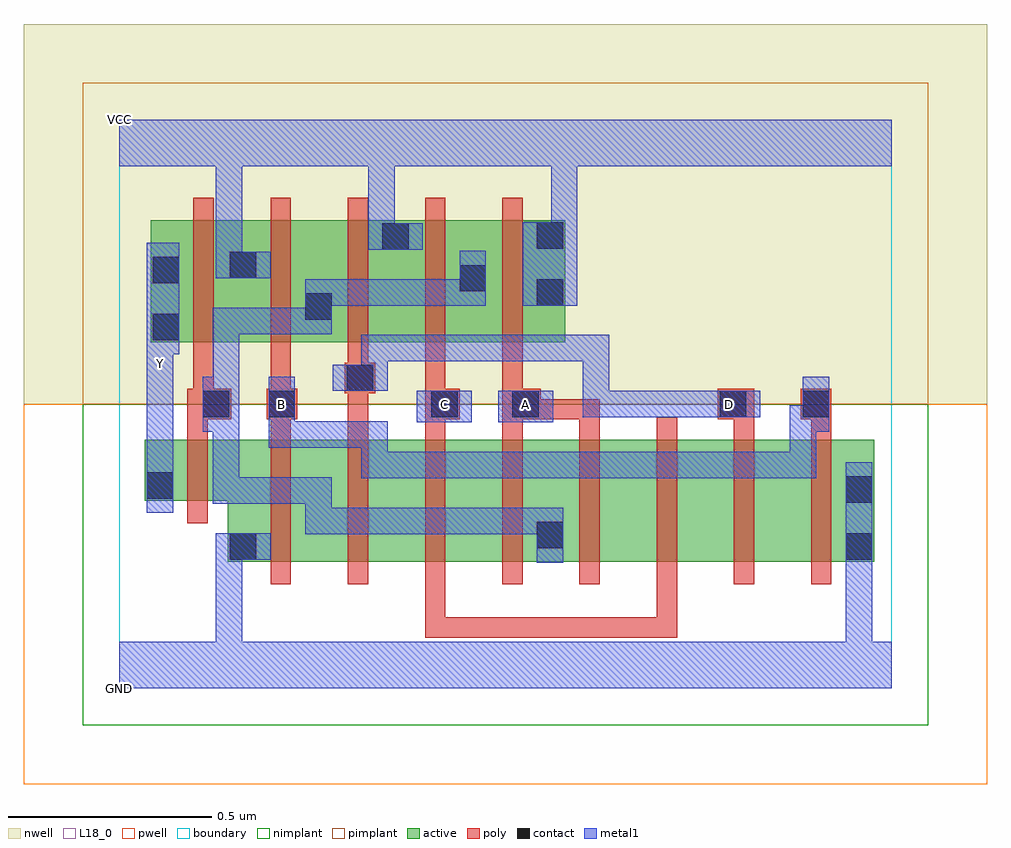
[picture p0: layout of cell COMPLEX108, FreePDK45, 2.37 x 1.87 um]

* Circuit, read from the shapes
.subckt COMPLEX108 A B C D GND VCC Y
M1 GND n1 Y VSUBS nfet w=0.15u l=0.05u
M2 n2 B GND VSUBS nfet w=0.3u l=0.05u
M3 n3 D n2 VSUBS nfet w=0.3u l=0.05u
M4 n4 C n3 VSUBS nfet w=0.3u l=0.05u
M5 n1 A n4 VSUBS nfet w=0.3u l=0.05u
M6 n5 A n1 VSUBS nfet w=0.3u l=0.05u
M7 n6 C n5 VSUBS nfet w=0.3u l=0.05u
M8 n7 D n6 VSUBS nfet w=0.3u l=0.05u
M9 GND B n7 VSUBS nfet w=0.3u l=0.05u
M10 VCC n1 Y n8 pfet w=0.3u l=0.05u
M11 n1 B VCC n8 pfet w=0.3u l=0.05u
M12 VCC D n1 n8 pfet w=0.3u l=0.05u
M13 n1 C VCC n8 pfet w=0.3u l=0.05u
M14 VCC A n1 n8 pfet w=0.3u l=0.05u
.ends

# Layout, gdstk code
import gdstk
lib = gdstk.Library(unit=1e-6, precision=1e-09)
def R(c, l, rs):  # rectangles x0, y0, x1, y1
    for r in rs: c.add(gdstk.rectangle(r[:2], r[2:], *l))
def A(c, l, x, y, w, h, nx, ny, dx, dy):  # array of equal rectangles
    R(c, l, [(x+i*dx, y+j*dy, x+i*dx+w, y+j*dy+h) for i in range(nx) for j in range(ny)])
active = (1, 0)
pwell = (2, 0)
nwell = (3, 0)
nimplant = (4, 0)
pimplant = (5, 0)
poly = (9, 0)
contact = (10, 0)
metal1 = (11, 0)
L18_0 = (18, 0)
boundary = (235, 0)

complex108 = lib.new_cell('COMPLEX108')
A(complex108, active, 0.452, 0.852, 0.265, 0.3, 3, 1, 0.19, 0)
R(complex108, active, [(0.267,0.312,0.342,0.612), (0.267,0.312,0.492,0.612), (0.492,0.312,0.682,0.612), (0.682,0.312,0.872,0.612), (0.872,0.312,1.097,0.612), (1.022,0.312,1.097,0.612), (1.022,0.312,1.252,0.612), (1.252,0.312,1.442,0.612), (1.442,0.312,1.632,0.612), (1.632,0.312,1.857,0.612), (1.782,0.312,1.857,0.612), (0.062,0.462,0.342,0.612), (0.062,0.462,0.137,0.612), (0.077,0.852,0.152,1.152), (0.077,0.852,0.342,1.152), (0.267,0.852,0.527,1.152), (0.267,0.852,0.342,1.08), (0.452,0.852,0.527,1.055), (0.832,0.852,0.907,1.055), (1.022,0.852,1.097,1.152), (0.642,1.007,0.717,1.15)])
R(complex108, pwell, [(-0.235,-0.235,2.135,0.7)])
R(complex108, nwell, [(-0.235,0.7,2.135,1.635)])
R(complex108, nimplant, [(-0.09,-0.09,1.99,0.7)])
R(complex108, pimplant, [(-0.09,0.7,1.99,1.49)])
A(complex108, poly, 0.372, 0.257, 0.05, 0.41, 8, 1, 0.19, 0)
A(complex108, poly, 0.752, 0.617, 0.05, 0.095, 3, 1, 0.19, 0)
A(complex108, poly, 0.182, 0.797, 0.05, 0.41, 5, 1, 0.19, 0)
R(complex108, poly, [(0.752,0.125,0.802,0.307), (0.752,0.125,0.802,0.175), (0.752,0.125,0.802,0.175), (0.752,0.125,0.802,0.175), (0.752,0.125,0.97,0.175), (0.92,0.125,0.97,0.175), (0.92,0.125,0.97,0.175), (0.92,0.125,0.97,0.175), (0.92,0.125,1.17,0.175), (1.12,0.125,1.372,0.175), (1.12,0.125,1.17,0.175), (1.12,0.125,1.17,0.175), (1.12,0.125,1.17,0.175), (1.322,0.125,1.372,0.307), (1.322,0.125,1.372,0.175), (0.167,0.407,0.217,0.667), (0.167,0.617,0.217,0.712), (0.372,0.617,0.422,0.712), (0.562,0.617,0.612,0.777), (1.512,0.617,1.562,0.712), (1.702,0.617,1.752,0.712), (0.167,0.662,0.275,0.737), (0.362,0.662,0.437,0.737), (0.752,0.662,0.837,0.737), (0.942,0.662,1.037,0.737), (0.987,0.662,1.037,0.712), (0.987,0.662,1.037,0.712), (0.987,0.662,1.182,0.712), (1.132,0.662,1.182,0.712), (1.472,0.662,1.562,0.737), (1.677,0.662,1.752,0.737), (0.182,0.687,0.232,0.847), (0.372,0.687,0.422,0.847), (0.752,0.687,0.802,0.847), (0.942,0.687,0.992,0.847), (0.555,0.727,0.63,0.802), (0.562,0.752,0.612,0.847)])
R(complex108, contact, [(0.272,0.317,0.337,0.382), (1.787,0.317,1.852,0.382), (1.027,0.345,1.092,0.41), (1.787,0.457,1.852,0.522), (0.067,0.467,0.132,0.532), (0.205,0.667,0.27,0.732), (0.367,0.667,0.432,0.732), (0.767,0.667,0.832,0.732), (0.967,0.667,1.032,0.732), (1.477,0.667,1.542,0.732), (1.682,0.667,1.747,0.732), (0.56,0.732,0.625,0.797), (0.082,0.857,0.147,0.922), (0.457,0.907,0.522,0.972), (1.027,0.942,1.092,1.007), (0.837,0.977,0.902,1.042), (0.082,0.997,0.147,1.062), (0.272,1.01,0.337,1.075), (0.647,1.08,0.712,1.145), (1.027,1.082,1.092,1.147)])
R(complex108, metal1, [(0,0,1.9,0.115), (0.237,0.05,0.302,0.115), (0.237,0.05,0.302,0.115), (0.237,0.05,0.302,0.382), (1.787,0.05,1.852,0.347), (1.787,0.05,1.852,0.115), (1.787,0.05,1.852,0.115), (1.787,0.05,1.852,0.115), (1.787,0.05,1.852,0.115), (1.787,0.282,1.852,0.557), (1.027,0.31,1.092,0.445), (0.237,0.317,0.302,0.382), (0.237,0.317,0.302,0.382), (0.237,0.317,0.372,0.382), (0.457,0.38,0.66,0.445), (0.457,0.38,0.522,0.52), (0.595,0.38,0.66,0.445), (0.595,0.38,0.66,0.445), (0.595,0.38,0.66,0.445), (0.595,0.38,0.86,0.445), (0.795,0.38,0.86,0.445), (0.795,0.38,0.86,0.445), (0.795,0.38,0.86,0.445), (0.795,0.38,0.997,0.445), (0.932,0.38,0.997,0.445), (0.932,0.38,1.092,0.445), (0.067,0.432,0.132,0.567), (0.23,0.455,0.295,0.52), (0.23,0.455,0.295,0.52), (0.23,0.455,0.295,0.52), (0.23,0.455,0.452,0.52), (0.23,0.455,0.295,0.697), (0.387,0.455,0.452,0.52), (0.387,0.455,0.522,0.52), (0.067,0.502,0.132,0.797), (0.595,0.517,0.797,0.582), (0.595,0.517,0.66,0.657), (0.732,0.517,0.797,0.582), (0.732,0.517,0.797,0.582), (0.732,0.517,0.797,0.582), (0.732,0.517,1.055,0.582), (0.99,0.517,1.055,0.582), (0.99,0.517,1.055,0.582), (0.99,0.517,1.055,0.582), (0.99,0.517,1.205,0.582), (1.14,0.517,1.205,0.582), (1.14,0.517,1.205,0.582), (1.14,0.517,1.205,0.582), (1.14,0.517,1.36,0.582), (1.295,0.517,1.36,0.582), (1.295,0.517,1.577,0.582), (1.512,0.517,1.577,0.582), (1.512,0.517,1.577,0.582), (1.512,0.517,1.577,0.582), (1.512,0.517,1.715,0.582), (1.65,0.517,1.715,0.582), (1.65,0.517,1.715,0.697), (0.367,0.592,0.432,0.657), (0.367,0.592,0.66,0.657), (0.367,0.592,0.432,0.697), (0.595,0.592,0.66,0.657), (0.595,0.592,0.66,0.657), (0.205,0.632,0.27,0.767), (0.205,0.632,0.295,0.697), (0.23,0.632,0.295,0.697), (0.23,0.632,0.295,0.937), (0.367,0.632,0.432,0.697), (0.367,0.632,0.432,0.697), (0.367,0.632,0.432,0.767), (1.65,0.632,1.715,0.697), (1.65,0.632,1.747,0.697), (1.682,0.632,1.747,0.767), (0.732,0.655,0.867,0.732), (0.932,0.655,1.067,0.732), (1.14,0.667,1.205,0.732), (1.14,0.667,1.342,0.732), (1.14,0.667,1.205,0.87), (1.277,0.667,1.342,0.732), (1.277,0.667,1.497,0.732), (1.432,0.667,1.497,0.732), (1.432,0.667,1.497,0.732), (1.432,0.667,1.577,0.732), (0.067,0.732,0.132,0.887), (0.525,0.732,0.66,0.797), (0.595,0.732,0.66,0.797), (0.595,0.732,0.66,0.797), (0.595,0.732,0.66,0.87), (0.595,0.805,0.66,0.87), (0.595,0.805,0.797,0.87), (0.732,0.805,0.797,0.87), (0.732,0.805,0.797,0.87), (0.732,0.805,0.797,0.87), (0.732,0.805,1.005,0.87), (0.94,0.805,1.005,0.87), (0.94,0.805,1.005,0.87), (0.94,0.805,1.005,0.87), (0.94,0.805,1.205,0.87), (1.14,0.805,1.205,0.87), (1.14,0.805,1.205,0.87), (1.14,0.805,1.205,0.87), (0.067,0.822,0.132,0.887), (0.067,0.822,0.147,1.097), (0.23,0.872,0.295,0.937), (0.23,0.872,0.452,0.937), (0.387,0.872,0.452,0.937), (0.387,0.872,0.522,0.937), (0.457,0.872,0.522,1.007), (0.457,0.942,0.522,1.007), (0.457,0.942,0.522,1.007), (0.457,0.942,0.66,1.007), (0.595,0.942,0.66,1.007), (0.595,0.942,0.66,1.007), (0.595,0.942,0.66,1.007), (0.595,0.942,0.797,1.007), (0.732,0.942,0.797,1.007), (0.732,0.942,0.902,1.007), (0.837,0.942,0.902,1.077), (0.992,0.942,1.127,1.147), (0.237,1.01,0.302,1.075), (0.237,1.01,0.302,1.075), (0.237,1.01,0.372,1.075), (0.237,1.01,0.302,1.35), (0.612,1.08,0.677,1.35), (0.612,1.08,0.747,1.145), (1.062,1.082,1.127,1.147), (1.062,1.082,1.127,1.147), (1.062,1.082,1.127,1.35), (0,1.285,1.9,1.4), (0.612,1.285,0.677,1.35), (0.612,1.285,0.677,1.35)])
R(complex108, L18_0, [(0,0,1.9,0.115), (0.237,0.05,0.302,0.115), (0.237,0.05,0.302,0.115), (0.237,0.05,0.302,0.382), (1.787,0.05,1.852,0.115), (1.787,0.05,1.852,0.115), (1.787,0.05,1.852,0.115), (1.787,0.05,1.852,0.115), (1.787,0.05,1.852,0.347), (1.787,0.282,1.852,0.557), (0.237,0.317,0.302,0.382), (0.237,0.317,0.302,0.382), (0.237,0.317,0.372,0.382), (0.067,0.432,0.132,0.567), (0.067,0.502,0.132,0.797), (0.595,0.517,0.66,0.657), (0.595,0.517,0.797,0.582), (0.732,0.517,0.797,0.582), (0.732,0.517,0.797,0.582), (0.732,0.517,0.797,0.582), (0.732,0.517,1.055,0.582), (0.99,0.517,1.055,0.582), (0.99,0.517,1.055,0.582), (0.99,0.517,1.055,0.582), (0.99,0.517,1.205,0.582), (1.14,0.517,1.205,0.582), (1.14,0.517,1.205,0.582), (1.14,0.517,1.205,0.582), (1.14,0.517,1.36,0.582), (1.295,0.517,1.36,0.582), (1.295,0.517,1.577,0.582), (1.512,0.517,1.577,0.582), (1.512,0.517,1.577,0.582), (1.512,0.517,1.577,0.582), (1.512,0.517,1.715,0.582), (1.65,0.517,1.715,0.582), (1.65,0.517,1.715,0.697), (0.367,0.592,0.432,0.657), (0.367,0.592,0.432,0.697), (0.367,0.592,0.66,0.657), (0.595,0.592,0.66,0.657), (0.595,0.592,0.66,0.657), (0.367,0.632,0.432,0.767), (0.367,0.632,0.432,0.697), (0.367,0.632,0.432,0.697), (1.65,0.632,1.715,0.697), (1.65,0.632,1.747,0.697), (1.682,0.632,1.747,0.767), (0.732,0.655,0.867,0.732), (0.932,0.655,1.067,0.732), (0.367,0.667,0.432,0.732), (0.767,0.667,0.832,0.732), (0.967,0.667,1.032,0.732), (1.14,0.667,1.205,0.732), (1.14,0.667,1.342,0.732), (1.14,0.667,1.205,0.87), (1.277,0.667,1.342,0.732), (1.277,0.667,1.497,0.732), (1.432,0.667,1.497,0.732), (1.432,0.667,1.497,0.732), (1.432,0.667,1.577,0.732), (1.467,0.667,1.532,0.732), (0.067,0.732,0.132,0.887), (0.525,0.732,0.66,0.797), (0.595,0.732,0.66,0.797), (0.595,0.732,0.66,0.797), (0.595,0.732,0.66,0.87), (0.067,0.767,0.132,0.832), (0.595,0.805,0.66,0.87), (0.595,0.805,0.797,0.87), (0.732,0.805,0.797,0.87), (0.732,0.805,0.797,0.87), (0.732,0.805,0.797,0.87), (0.732,0.805,1.005,0.87), (0.94,0.805,1.005,0.87), (0.94,0.805,1.005,0.87), (0.94,0.805,1.005,0.87), (0.94,0.805,1.205,0.87), (1.14,0.805,1.205,0.87), (1.14,0.805,1.205,0.87), (1.14,0.805,1.205,0.87), (0.067,0.822,0.147,1.097), (0.067,0.822,0.132,0.887), (0.992,0.942,1.127,1.147), (0.237,1.01,0.302,1.075), (0.237,1.01,0.302,1.075), (0.237,1.01,0.372,1.075), (0.237,1.01,0.302,1.35), (0.612,1.08,0.747,1.145), (0.612,1.08,0.677,1.35), (1.062,1.082,1.127,1.147), (1.062,1.082,1.127,1.147), (1.062,1.082,1.127,1.35), (0,1.285,1.9,1.4), (0.612,1.285,0.677,1.35), (0.612,1.285,0.677,1.35)])
R(complex108, boundary, [(0,0,1.9,1.4)])
complex108.add(gdstk.Label('A', (1,0.7), layer=11, texttype=0))
complex108.add(gdstk.Label('B', (0.4,0.7), layer=11, texttype=0))
complex108.add(gdstk.Label('C', (0.8,0.7), layer=11, texttype=0))
complex108.add(gdstk.Label('D', (1.5,0.7), layer=11, texttype=0))
complex108.add(gdstk.Label('Y', (0.1,0.8), layer=11, texttype=0))
complex108.add(gdstk.Label('VCC', (0,1.4), layer=11, texttype=0))
complex108.add(gdstk.Label('GND', (0,0), layer=11, texttype=0))

lib.write_gds('COMPLEX108.gds')
